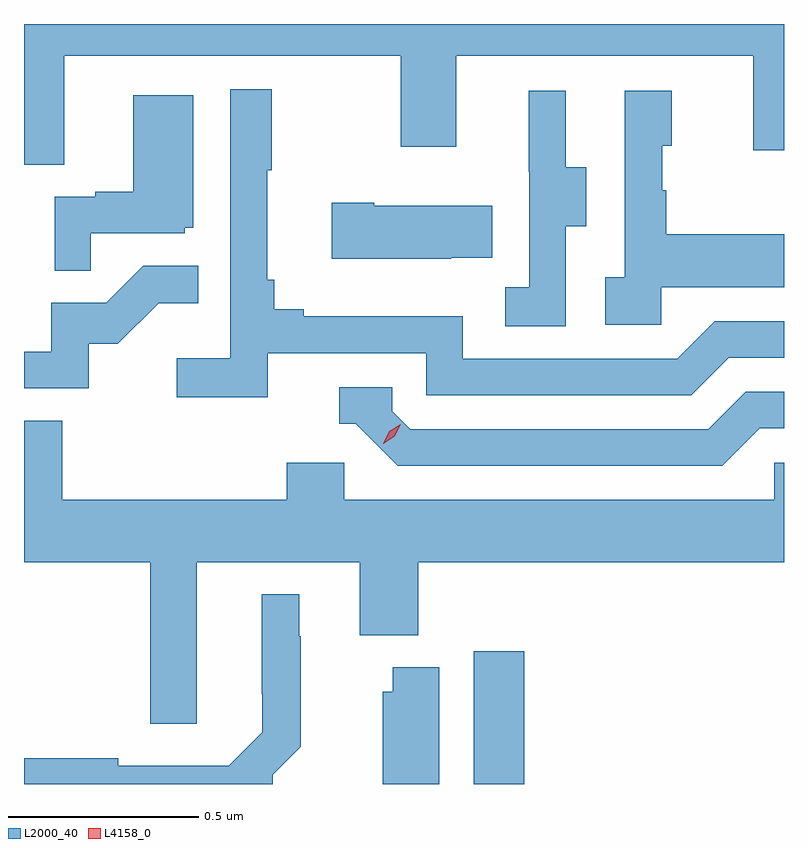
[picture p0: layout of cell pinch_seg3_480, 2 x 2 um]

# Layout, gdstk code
import gdstk
lib = gdstk.Library(unit=1e-6, precision=1e-09)
def R(c, l, rs):  # rectangles x0, y0, x1, y1
    for r in rs: c.add(gdstk.rectangle(r[:2], r[2:], *l))
def P(c, l, *ps):  # polygons
    for p in ps: c.add(gdstk.Polygon(p, *l))
L2000_40 = (2000, 40)
L4158_0 = (4158, 0)

pinch_seg3_480 = lib.new_cell('pinch_seg3_480')
R(pinch_seg3_480, L2000_40, [(939.245,679.02,939.377,679.369)])
P(pinch_seg3_480, L2000_40, [(938.167,680.936),(939.052,680.936),(939.052,680.697),(939.199,680.697),(939.199,680.936),(939.98,680.936),(939.98,680.688),(940.061,680.688),(940.061,681.02),(938.061,681.02),(938.061,680.65),(938.167,680.65)],
  [(938.702,680.154),(939.12,680.154),(939.12,680.043),(939.817,680.043),(939.916,680.142),(940.061,680.142),(940.061,680.238),(939.879,680.238),(939.78,680.139),(939.216,680.139),(939.216,680.251),(938.797,680.251),(938.797,680.27),(938.72,680.27),(938.72,680.347),(938.701,680.347),(938.701,680.635),(938.713,680.635),(938.713,680.848),(938.604,680.848),(938.604,680.14),(938.463,680.14),(938.463,680.038),(938.702,680.038)],
  [(939.486,680.488),(939.541,680.488),(939.541,680.643),(939.487,680.643),(939.487,680.845),(939.389,680.845),(939.389,680.631),(939.39,680.631),(939.39,680.327),(939.327,680.327),(939.327,680.224),(939.486,680.224)],
  [(939.738,680.327),(940.061,680.327),(940.061,680.467),(939.751,680.467),(939.751,680.582),(939.741,680.582),(939.741,680.7),(939.766,680.7),(939.766,680.845),(939.642,680.845),(939.642,680.354),(939.591,680.354),(939.591,680.229),(939.738,680.229)],
  [(938.237,680.469),(938.484,680.469),(938.484,680.484),(938.506,680.484),(938.506,680.833),(938.348,680.833),(938.348,680.578),(938.249,680.578),(938.249,680.565),(938.142,680.565),(938.142,680.371),(938.237,680.371)],
  [(939.185,680.405),(939.293,680.405),(939.293,680.542),(938.983,680.542),(938.983,680.55),(938.871,680.55),(938.871,680.402),(939.185,680.402)],
  [(938.232,680.178),(938.308,680.178),(938.415,680.285),(938.519,680.285),(938.519,680.384),(938.375,680.384),(938.277,680.286),(938.133,680.286),(938.133,680.157),(938.061,680.157),(938.061,680.061),(938.232,680.061)],
  [(939.997,679.956),(940.061,679.956),(940.061,680.052),(939.96,680.052),(939.861,679.953),(939.078,679.953),(939.03,680.001),(939.03,680.064),(938.891,680.064),(938.891,679.968),(938.934,679.968),(939.045,679.857),(939.898,679.857)],
  [(938.515,679.604),(938.945,679.604),(938.945,679.412),(939.098,679.412),(939.098,679.604),(940.061,679.604),(940.061,679.866),(940.035,679.866),(940.035,679.768),(938.904,679.768),(938.904,679.866),(938.753,679.866),(938.753,679.768),(938.162,679.768),(938.162,679.976),(938.061,679.976),(938.061,679.604),(938.393,679.604),(938.393,679.179),(938.515,679.179)],
  [(938.715,679.044),(938.789,679.118),(938.789,679.409),(938.785,679.409),(938.785,679.519),(938.687,679.519),(938.687,679.258),(938.688,679.258),(938.688,679.156),(938.6,679.068),(938.309,679.068),(938.309,679.088),(938.061,679.088),(938.061,679.02),(938.715,679.02)],
  [(939.154,679.327),(939.032,679.327),(939.032,679.263),(939.005,679.263),(939.005,679.02),(939.154,679.02)])
P(pinch_seg3_480, L4158_0, [(939.006,679.916),(939.006,679.916),(939.022,679.948),(939.053,679.967),(939.053,679.967),(939.053,679.967),(939.037,679.935),(939.006,679.916)])

lib.write_gds('pinch_seg3_480.gds')
